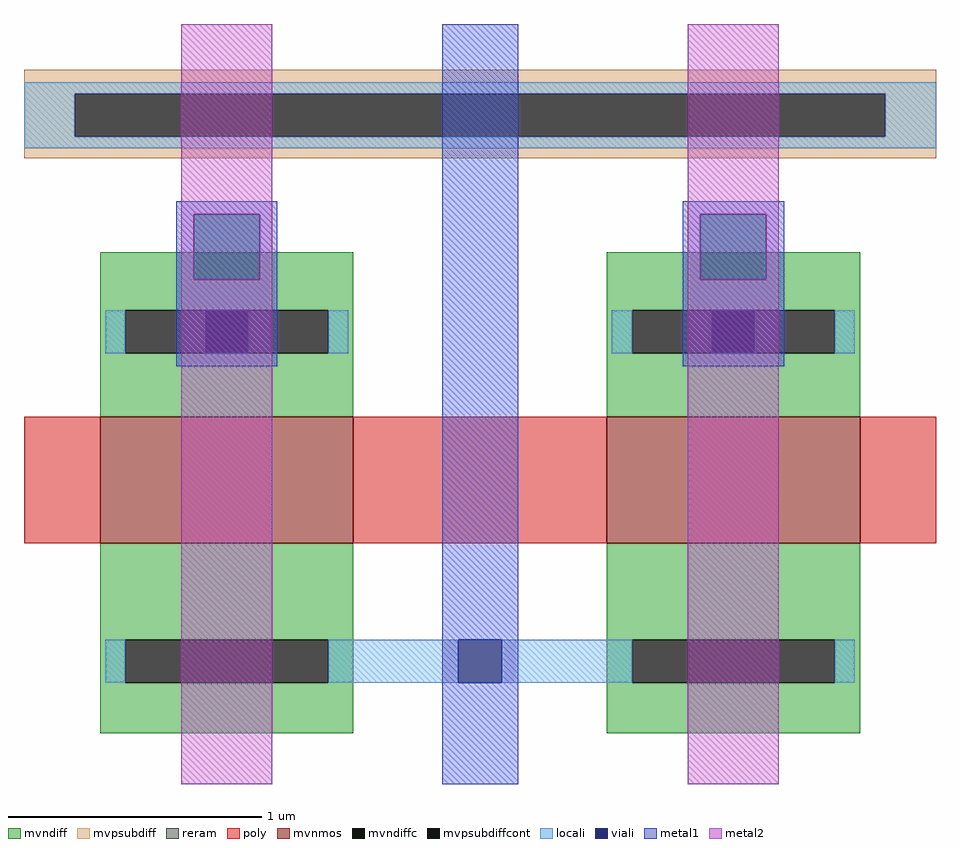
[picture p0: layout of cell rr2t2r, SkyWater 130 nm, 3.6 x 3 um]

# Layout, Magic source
magic
tech sky130B
magscale 1 2
<< mvnmos >>
rect 60 190 260 290
rect 460 190 660 290
<< mvndiff >>
rect 60 374 260 420
rect 60 340 80 374
rect 240 340 260 374
rect 60 290 260 340
rect 460 374 660 420
rect 460 340 480 374
rect 640 340 660 374
rect 460 290 660 340
rect 60 114 260 190
rect 60 80 80 114
rect 240 80 260 114
rect 60 40 260 80
rect 460 114 660 190
rect 460 80 480 114
rect 640 80 660 114
rect 460 40 660 80
<< mvndiffc >>
rect 80 340 240 374
rect 480 340 640 374
rect 80 80 240 114
rect 480 80 640 114
<< mvpsubdiff >>
rect 0 545 720 564
rect 0 511 40 545
rect 680 511 720 545
rect 0 494 720 511
<< mvpsubdiffcont >>
rect 40 511 680 545
<< poly >>
rect 0 190 60 290
rect 260 190 460 290
rect 660 190 720 290
<< locali >>
rect 0 545 720 554
rect 0 511 40 545
rect 680 511 720 545
rect 0 502 720 511
rect 64 340 80 374
rect 240 340 256 374
rect 464 340 480 374
rect 640 340 656 374
rect 64 80 80 114
rect 240 80 343 114
rect 377 80 480 114
rect 640 80 656 114
<< viali >>
rect 143 340 177 374
rect 543 340 577 374
rect 343 80 377 114
<< metal1 >>
rect 120 374 200 460
rect 120 340 143 374
rect 177 340 200 374
rect 120 330 200 340
rect 330 114 390 600
rect 520 374 600 460
rect 520 340 543 374
rect 577 340 600 374
rect 520 330 600 340
rect 330 80 343 114
rect 377 80 390 114
rect 330 0 390 80
<< reram >>
rect 134 398 186 450
rect 534 398 586 450
<< metal2 >>
rect 124 450 196 600
rect 124 398 134 450
rect 186 398 196 450
rect 124 0 196 398
rect 524 450 596 600
rect 524 398 534 450
rect 586 398 596 450
rect 524 0 596 398
<< end >>
